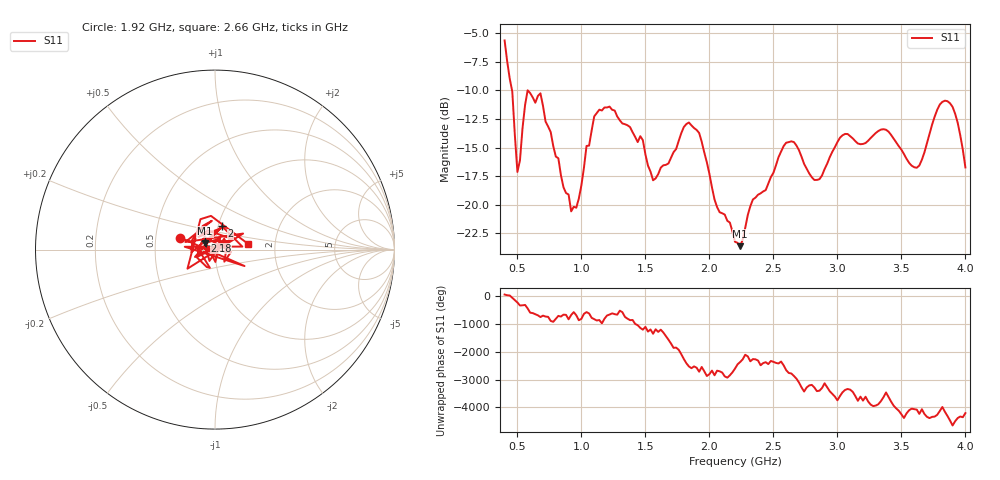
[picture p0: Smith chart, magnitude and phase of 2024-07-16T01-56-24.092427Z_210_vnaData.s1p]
!Created with skrf (http://scikit-rf.org).
# Hz S RI R 50.0
!freq ReS11 ImS11
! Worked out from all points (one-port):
!   181 points, 400 MHz to 4 GHz, reference 50 ohm
!   lowest |S11| = -23.6 dB at 2.24 GHz (marker M1), VSWR 1.14, Z = 44.6 + j3.19 ohm
!   |S11| at or under -10 dB: 458 MHz to end of sweep
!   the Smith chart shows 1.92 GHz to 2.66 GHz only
!   S11 on the Smith chart (normalised r, x): 1.92 GHz: 0.67, +0.09; 2 GHz: 1.04, +0.28; 2.18 GHz: 0.89, +0.09; 2.66 GHz: 1.45, +0.09
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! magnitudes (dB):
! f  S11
! 400 MHz  -5.6
! 460 MHz  -10.1
! 500 MHz  -17.1
! 580 MHz  -10.0
! 680 MHz  -10.3
! 860 MHz  -18.5
! 960 MHz  -20.3
! 1.1 GHz  -12.3
! 1.3 GHz  -12.6
! 1.48 GHz  -14.4
! 1.56 GHz  -17.9
! 1.76 GHz  -14.4
! 1.84 GHz  -12.8
! 1.92 GHz  -13.7
! 2 GHz  -17.3
! 2.18 GHz  -22.3
! 2.2 GHz  -23.2
! 2.24 GHz  -23.6
! 2.34 GHz  -19.5
! 2.66 GHz  -14.5
! 2.84 GHz  -17.8
! 3.1 GHz  -14.0
! 3.38 GHz  -13.5
! 3.56 GHz  -16.3
! 3.64 GHz  -16.6
! 3.84 GHz  -10.9
! 3.92 GHz  -12.1
! 4 GHz  -16.7
